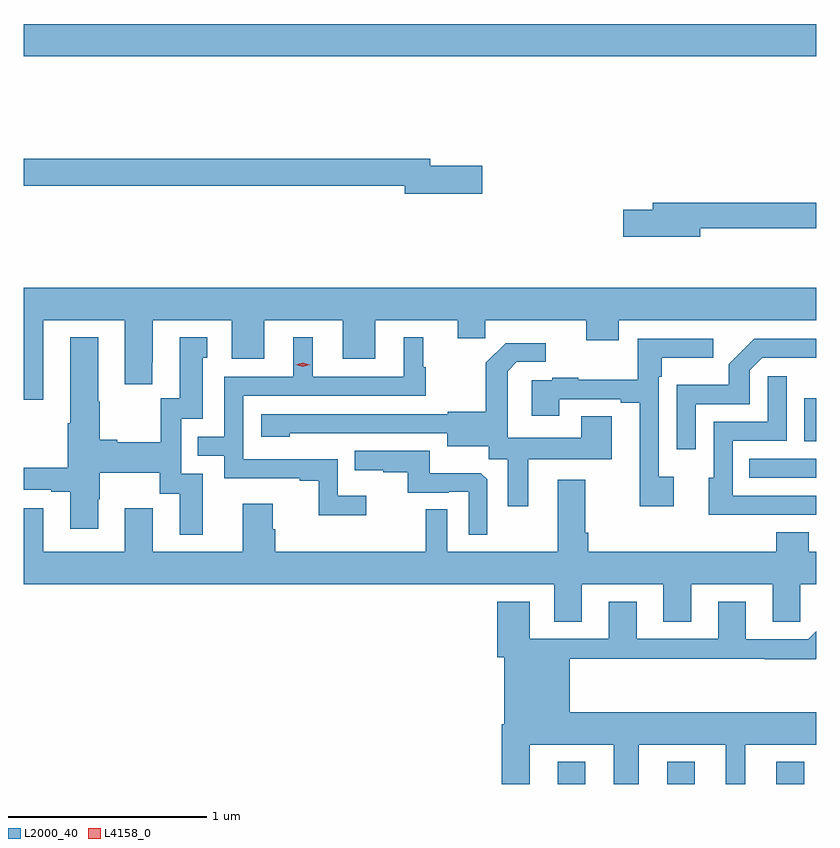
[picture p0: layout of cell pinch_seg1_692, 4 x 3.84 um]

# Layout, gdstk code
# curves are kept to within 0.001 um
import gdstk
lib = gdstk.Library(unit=1e-6, precision=1e-09)
def R(c, l, rs):  # rectangles x0, y0, x1, y1
    for r in rs: c.add(gdstk.rectangle(r[:2], r[2:], *l))
def A(c, l, x, y, w, h, nx, ny, dx, dy):  # array of equal rectangles
    R(c, l, [(x+i*dx, y+j*dy, x+i*dx+w, y+j*dy+h) for i in range(nx) for j in range(ny)])
def P(c, l, *ps):  # polygons
    for p in ps: c.add(gdstk.Polygon(p, *l))
L2000_40 = (2000, 40)
L4158_0 = (4158, 0)

pinch_seg1_692 = lib.new_cell('pinch_seg1_692')
A(pinch_seg1_692, L2000_40, 698.249, 573.368, 0.14, 0.113, 3, 1, 0.552, 0)
R(pinch_seg1_692, L2000_40, [(699.217,574.914,699.554,575.01), (699.494,575.099,699.554,575.314), (695.554,577.04,699.554,577.204)])
P(pinch_seg1_692, L2000_40, [(697.867,576.488),(697.606,576.488),(697.606,576.524),(695.554,576.524),(695.554,576.388),(697.478,576.388),(697.478,576.346),(697.867,576.346)],
  [(698.968,576.174),(699.554,576.174),(699.554,576.302),(698.729,576.302),(698.729,576.266),(698.58,576.266),(698.58,576.131),(698.968,576.131)],
  [(695.653,575.708),(696.065,575.708),(696.065,575.385),(696.202,575.385),(696.202,575.497),(696.205,575.497),(696.205,575.708),(696.605,575.708),(696.605,575.514),(696.769,575.514),(696.769,575.708),(697.163,575.708),(697.163,575.514),(697.327,575.514),(697.327,575.708),(697.745,575.708),(697.745,575.618),(697.883,575.618),(697.883,575.708),(698.393,575.708),(698.393,575.609),(698.557,575.609),(698.557,575.708),(699.554,575.708),(699.554,575.872),(695.554,575.872),(695.554,575.307),(695.653,575.307)],
  [(697.282,574.822),(697.14,574.822),(697.14,575.007),(696.663,575.007),(696.663,575.328),(697.582,575.328),(697.582,575.472),(697.57,575.472),(697.57,575.623),(697.472,575.623),(697.472,575.424),(697.012,575.424),(697.012,575.623),(696.914,575.623),(696.914,575.424),(696.567,575.424),(696.567,575.121),(696.433,575.121),(696.433,575.025),(696.567,575.025),(696.567,574.911),(696.947,574.911),(696.947,574.899),(697.042,574.899),(697.042,574.724),(697.282,574.724)],
  [(696.457,574.935),(696.348,574.935),(696.348,575.211),(696.457,575.211),(696.457,575.52),(696.481,575.52),(696.481,575.623),(696.341,575.623),(696.341,575.316),(696.245,575.316),(696.245,575.092),(696.025,575.092),(696.025,575.105),(695.937,575.105),(695.937,575.297),(695.929,575.297),(695.929,575.623),(695.789,575.623),(695.789,575.188),(695.777,575.188),(695.777,574.963),(695.554,574.963),(695.554,574.854),(695.693,574.854),(695.693,574.842),(695.789,574.842),(695.789,574.656),(695.929,574.656),(695.929,574.806),(695.937,574.806),(695.937,574.94),(696.24,574.94),(696.24,574.834),(696.341,574.834),(696.341,574.626),(696.457,574.626)],
  [(698.946,575.286),(699.219,575.286),(699.219,575.457),(699.282,575.52),(699.554,575.519),(699.554,575.616),(699.242,575.616),(699.112,575.486),(699.112,575.383),(698.85,575.383),(698.85,575.058),(698.946,575.058)],
  [(698.836,574.918),(698.76,574.918),(698.76,575.423),(698.773,575.423),(698.773,575.519),(699.034,575.519),(699.034,575.616),(698.652,575.616),(698.652,575.408),(698.353,575.408),(698.353,575.419),(698.221,575.419),(698.221,575.406),(698.117,575.406),(698.117,575.226),(698.257,575.226),(698.257,575.31),(698.567,575.31),(698.567,575.292),(698.663,575.292),(698.663,574.77),(698.836,574.77)],
  [(698.101,575.006),(698.521,575.006),(698.521,575.225),(698.369,575.225),(698.369,575.116),(697.998,575.116),(697.998,575.357),(697.996,575.357),(697.996,575.452),(698.043,575.499),(698.188,575.499),(698.188,575.593),(697.987,575.593),(697.887,575.493),(697.887,575.248),(697.695,575.248),(697.695,575.235),(696.753,575.235),(696.753,575.12),(696.897,575.12),(696.897,575.138),(697.691,575.139),(697.691,575.072),(697.902,575.072),(697.902,575.008),(697.997,575.008),(697.997,574.77),(698.101,574.77)],
  [(699.229,574.728),(699.554,574.728),(699.554,574.824),(699.132,574.824),(699.132,575.1),(699.405,575.1),(699.405,575.425),(699.309,575.425),(699.309,575.196),(699.036,575.196),(699.036,574.914),(699.011,574.914),(699.011,574.727),(699.229,574.727)],
  [(697.893,574.905),(697.861,574.937),(697.603,574.937),(697.603,575.049),(697.225,575.049),(697.225,574.952),(697.369,574.952),(697.369,574.941),(697.493,574.941),(697.493,574.839),(697.7,574.839),(697.7,574.842),(697.8,574.842),(697.8,574.625),(697.893,574.625)],
  [(698.371,574.376),(698.783,574.376),(698.783,574.186),(698.923,574.186),(698.923,574.376),(699.335,574.376),(699.335,574.186),(699.474,574.186),(699.474,574.376),(699.554,574.376),(699.554,574.54),(699.517,574.54),(699.517,574.639),(699.353,574.639),(699.353,574.54),(698.402,574.54),(698.402,574.636),(698.389,574.636),(698.389,574.903),(698.249,574.903),(698.249,574.54),(697.692,574.54),(697.692,574.754),(697.584,574.754),(697.584,574.54),(696.824,574.54),(696.824,574.653),(696.811,574.653),(696.811,574.783),(696.659,574.783),(696.659,574.54),(696.205,574.54),(696.205,574.759),(696.065,574.759),(696.065,574.54),(695.653,574.54),(695.653,574.759),(695.554,574.759),(695.554,574.376),(698.231,574.376),(698.231,574.186),(698.371,574.186)],
  [(698.107,573.566),(698.531,573.566),(698.531,573.368),(698.659,573.368),(698.659,573.566),(699.098,573.566),(699.098,573.368),(699.196,573.368),(699.196,573.566),(699.554,573.566),(699.554,573.73),(698.311,573.73),(698.311,574),(699.295,574),(699.295,573.998),(699.551,573.998),(699.554,574.001),(699.554,574.139),(699.513,574.098),(699.199,574.098),(699.199,574.288),(699.059,574.288),(699.059,574.101),(698.647,574.101),(698.647,574.288),(698.507,574.288),(698.507,574.101),(698.107,574.101),(698.107,574.288),(697.943,574.288),(697.943,574.008),(697.979,574.008),(697.979,573.67),(697.967,573.67),(697.967,573.368),(698.107,573.368)])
P(pinch_seg1_692, L4158_0, [(696.963,575.474),(696.927,575.484),(696.927,575.484),(696.927,575.484),(696.963,575.494),(696.998,575.484),(696.999,575.484),(696.998,575.484)])

lib.write_gds('pinch_seg1_692.gds')
